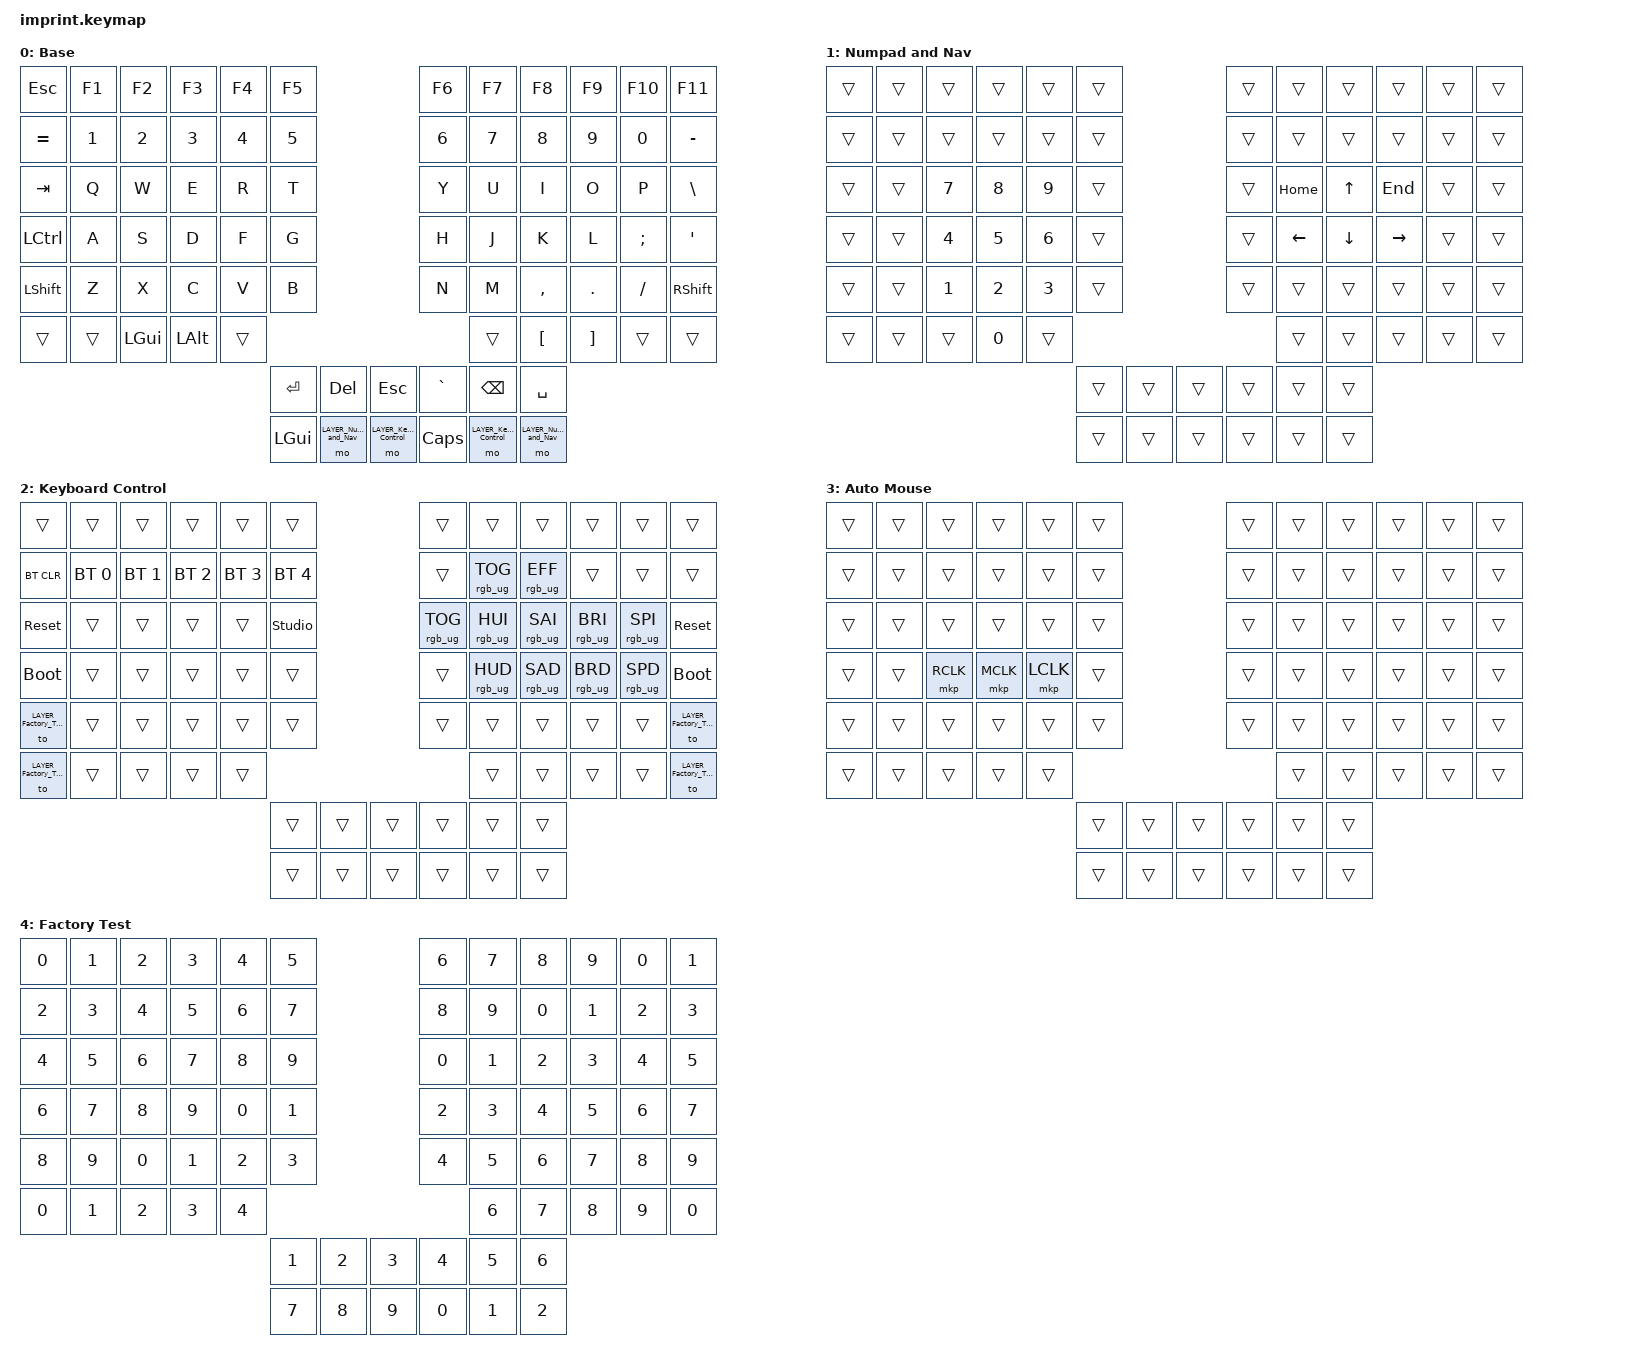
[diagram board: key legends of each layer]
/* Generated by Keyboard Curator. Change the board or the layout there, not this file. */

#include <behaviors.dtsi>
#include <dt-bindings/zmk/keys.h>
#include <dt-bindings/zmk/bt.h>
#include <dt-bindings/zmk/outputs.h>
#include <dt-bindings/zmk/rgb.h>
#include <dt-bindings/zmk/ext_power.h>
#include <dt-bindings/zmk/pointing.h>
#include <input/processors.dtsi>
#include <dt-bindings/zmk/input_transform.h>

#define LAYER_Base 0
#define LAYER_Numpad_and_Nav 1
#define LAYER_Keyboard_Control 2
#define LAYER_Auto_Mouse 3
#define LAYER_Factory_Test 4

/ {
    chosen {
        zmk,physical-layout = &physical_layout_imprint_function_row_full_bottom_row;
    };

    underglow-layer {
        compatible = "zmk,underglow-layer";

        lighting_0_Base {
            layer-id = <LAYER_Base>;
            bindings = <
                &ug 0xFF0000  &ug 0xFF0000  &ug 0xFF0000  &ug 0xFF0000  &ug 0xFF0000  &ug 0xFF0000                                                          &ug 0xFF0000  &ug 0xFF0000  &ug 0xFF0000  &ug 0xFF0000  &ug 0xFF0000  &ug 0xFF0000
                &ug 0xFFA000  &ug 0xFFA000  &ug 0xFFA000  &ug 0xFFA000  &ug 0xFFA000  &ug 0xFFA000                                                          &ug 0xFFA000  &ug 0xFFA000  &ug 0xFFA000  &ug 0xFFA000  &ug 0xFFA000  &ug 0xFFA000
                &ug 0x00FF00  &ug 0x00FF00  &ug 0x00FF00  &ug 0x00FF00  &ug 0x00FF00  &ug 0x00FF00                                                          &ug 0x00FF00  &ug 0x00FF00  &ug 0x00FF00  &ug 0x00FF00  &ug 0x00FF00  &ug 0x00FF00
                &ug 0x00FFFF  &ug 0x00FFFF  &ug 0x00FFFF  &ug 0x00FFFF  &ug 0x00FFFF  &ug 0x00FFFF                                                          &ug 0x00FFFF  &ug 0x00FFFF  &ug 0x00FFFF  &ug 0x00FFFF  &ug 0x00FFFF  &ug 0x00FFFF
                &ug 0x0000FF  &ug 0x0000FF  &ug 0x0000FF  &ug 0x0000FF  &ug 0x0000FF  &ug 0x0000FF                                                          &ug 0x0000FF  &ug 0x0000FF  &ug 0x0000FF  &ug 0x0000FF  &ug 0x0000FF  &ug 0x0000FF
                &ug 0xFF00FF  &ug 0xFF00FF  &ug 0xFF00FF  &ug 0xFF00FF  &ug 0xFF00FF                                                                                      &ug 0xFF00FF  &ug 0xFF00FF  &ug 0xFF00FF  &ug 0xFF00FF  &ug 0xFF00FF
                                                                                                    &ug 0xFF0000  &ug 0xFF0000  &ug 0xFF0000  &ug 0xFF0000  &ug 0xFF0000  &ug 0xFF0000
                                                                                                    &ug 0xFFA000  &ug 0xFFA000  &ug 0xFFA000  &ug 0xFFA000  &ug 0xFFA000  &ug 0xFFA000
            >;
        };

        lighting_1_Numpad_and_Nav {
            layer-id = <LAYER_Numpad_and_Nav>;
            bindings = <
                &ug 0xFF0000  &ug 0xFFA000  &ug 0x00FF00  &ug 0x00FFFF  &ug 0x0000FF  &ug 0xFF00FF                                                          &ug 0xFF0000  &ug 0xFFA000  &ug 0x00FF00  &ug 0x00FFFF  &ug 0x0000FF  &ug 0xFF00FF
                &ug 0xFF0000  &ug 0xFFA000  &ug 0x00FF00  &ug 0x00FFFF  &ug 0x0000FF  &ug 0xFF00FF                                                          &ug 0xFF0000  &ug 0xFFA000  &ug 0x00FF00  &ug 0x00FFFF  &ug 0x0000FF  &ug 0xFF00FF
                &ug 0xFF0000  &ug 0xFFA000  &ug 0x00FF00  &ug 0x00FFFF  &ug 0x0000FF  &ug 0xFF00FF                                                          &ug 0xFF0000  &ug 0xFFA000  &ug 0x00FF00  &ug 0x00FFFF  &ug 0x0000FF  &ug 0xFF00FF
                &ug 0xFF0000  &ug 0xFFA000  &ug 0x00FF00  &ug 0x00FFFF  &ug 0x0000FF  &ug 0xFF00FF                                                          &ug 0xFF0000  &ug 0xFFA000  &ug 0x00FF00  &ug 0x00FFFF  &ug 0x0000FF  &ug 0xFF00FF
                &ug 0xFF0000  &ug 0xFFA000  &ug 0x00FF00  &ug 0x00FFFF  &ug 0x0000FF  &ug 0xFF00FF                                                          &ug 0xFF0000  &ug 0xFFA000  &ug 0x00FF00  &ug 0x00FFFF  &ug 0x0000FF  &ug 0xFF00FF
                &ug 0xFF0000  &ug 0xFFA000  &ug 0x00FF00  &ug 0x00FFFF  &ug 0x0000FF                                                                                      &ug 0xFFA000  &ug 0x00FF00  &ug 0x00FFFF  &ug 0x0000FF  &ug 0xFF00FF
                                                                                                    &ug 0xFF0000  &ug 0xFF0000  &ug 0xFFA000  &ug 0x00FFFF  &ug 0x0000FF  &ug 0xFF00FF
                                                                                                    &ug 0xFF0000  &ug 0xFF0000  &ug 0xFFA000  &ug 0x00FFFF  &ug 0x0000FF  &ug 0xFF00FF
            >;
        };
    };

    keymap {
        compatible = "zmk,keymap";

        layer_0_Base {
            display-name = "Base";
            bindings = <
                &kp ESC    &kp F1  &kp F2    &kp F3    &kp F4  &kp F5                                                                             &kp F6                      &kp F7                    &kp F8     &kp F9    &kp F10   &kp F11
                &kp EQUAL  &kp N1  &kp N2    &kp N3    &kp N4  &kp N5                                                                             &kp N6                      &kp N7                    &kp N8     &kp N9    &kp N0    &kp MINUS
                &kp TAB    &kp Q   &kp W     &kp E     &kp R   &kp T                                                                              &kp Y                       &kp U                     &kp I      &kp O     &kp P     &kp BSLH
                &kp LCTRL  &kp A   &kp S     &kp D     &kp F   &kp G                                                                              &kp H                       &kp J                     &kp K      &kp L     &kp SEMI  &kp SQT
                &kp LSHFT  &kp Z   &kp X     &kp C     &kp V   &kp B                                                                              &kp N                       &kp M                     &kp COMMA  &kp DOT   &kp FSLH  &kp RSHFT
                &trans     &trans  &kp LGUI  &kp LALT  &trans                                                                                                                 &trans                    &kp LBKT   &kp RBKT  &trans    &trans
                                                                       &kp RET   &kp DEL                   &kp ESC                     &kp GRAVE  &kp BSPC                    &kp SPACE
                                                                       &kp LGUI  &mo LAYER_Numpad_and_Nav  &mo LAYER_Keyboard_Control  &kp CAPS   &mo LAYER_Keyboard_Control  &mo LAYER_Numpad_and_Nav
            >;
        };

        layer_1_Numpad_and_Nav {
            display-name = "Numpad and Nav";
            bindings = <
                &trans  &trans  &trans  &trans  &trans  &trans                                  &trans  &trans    &trans    &trans     &trans  &trans
                &trans  &trans  &trans  &trans  &trans  &trans                                  &trans  &trans    &trans    &trans     &trans  &trans
                &trans  &trans  &kp N7  &kp N8  &kp N9  &trans                                  &trans  &kp HOME  &kp UP    &kp END    &trans  &trans
                &trans  &trans  &kp N4  &kp N5  &kp N6  &trans                                  &trans  &kp LEFT  &kp DOWN  &kp RIGHT  &trans  &trans
                &trans  &trans  &kp N1  &kp N2  &kp N3  &trans                                  &trans  &trans    &trans    &trans     &trans  &trans
                &trans  &trans  &trans  &kp N0  &trans                                                  &trans    &trans    &trans     &trans  &trans
                                                                &trans  &trans  &trans  &trans  &trans  &trans
                                                                &trans  &trans  &trans  &trans  &trans  &trans
            >;
        };

        layer_2_Keyboard_Control {
            display-name = "Keyboard Control";
            bindings = <
                &trans                  &trans        &trans        &trans        &trans        &trans                                          &trans           &trans           &trans           &trans           &trans           &trans
                &bt BT_CLR              &bt BT_SEL 0  &bt BT_SEL 1  &bt BT_SEL 2  &bt BT_SEL 3  &bt BT_SEL 4                                    &trans           &rgb_ug RGB_TOG  &rgb_ug RGB_EFF  &trans           &trans           &trans
                &sys_reset              &trans        &trans        &trans        &trans        &studio_unlock                                  &rgb_ug RGB_TOG  &rgb_ug RGB_HUI  &rgb_ug RGB_SAI  &rgb_ug RGB_BRI  &rgb_ug RGB_SPI  &sys_reset
                &bootloader             &trans        &trans        &trans        &trans        &trans                                          &trans           &rgb_ug RGB_HUD  &rgb_ug RGB_SAD  &rgb_ug RGB_BRD  &rgb_ug RGB_SPD  &bootloader
                &to LAYER_Factory_Test  &trans        &trans        &trans        &trans        &trans                                          &trans           &trans           &trans           &trans           &trans           &to LAYER_Factory_Test
                &to LAYER_Factory_Test  &trans        &trans        &trans        &trans                                                                         &trans           &trans           &trans           &trans           &to LAYER_Factory_Test
                                                                                                                &trans  &trans  &trans  &trans  &trans           &trans
                                                                                                                &trans  &trans  &trans  &trans  &trans           &trans
            >;
        };

        layer_3_Auto_Mouse {
            display-name = "Auto Mouse";
            bindings = <
                &trans  &trans  &trans     &trans     &trans     &trans                                  &trans  &trans  &trans  &trans  &trans  &trans
                &trans  &trans  &trans     &trans     &trans     &trans                                  &trans  &trans  &trans  &trans  &trans  &trans
                &trans  &trans  &trans     &trans     &trans     &trans                                  &trans  &trans  &trans  &trans  &trans  &trans
                &trans  &trans  &mkp RCLK  &mkp MCLK  &mkp LCLK  &trans                                  &trans  &trans  &trans  &trans  &trans  &trans
                &trans  &trans  &trans     &trans     &trans     &trans                                  &trans  &trans  &trans  &trans  &trans  &trans
                &trans  &trans  &trans     &trans     &trans                                                     &trans  &trans  &trans  &trans  &trans
                                                                         &trans  &trans  &trans  &trans  &trans  &trans
                                                                         &trans  &trans  &trans  &trans  &trans  &trans
            >;
        };

        layer_4_Factory_Test {
            display-name = "Factory Test";
            bindings = <
                &kp N0  &kp N1  &kp N2  &kp N3  &kp N4  &kp N5                                  &kp N6  &kp N7  &kp N8  &kp N9  &kp N0  &kp N1
                &kp N2  &kp N3  &kp N4  &kp N5  &kp N6  &kp N7                                  &kp N8  &kp N9  &kp N0  &kp N1  &kp N2  &kp N3
                &kp N4  &kp N5  &kp N6  &kp N7  &kp N8  &kp N9                                  &kp N0  &kp N1  &kp N2  &kp N3  &kp N4  &kp N5
                &kp N6  &kp N7  &kp N8  &kp N9  &kp N0  &kp N1                                  &kp N2  &kp N3  &kp N4  &kp N5  &kp N6  &kp N7
                &kp N8  &kp N9  &kp N0  &kp N1  &kp N2  &kp N3                                  &kp N4  &kp N5  &kp N6  &kp N7  &kp N8  &kp N9
                &kp N0  &kp N1  &kp N2  &kp N3  &kp N4                                                  &kp N6  &kp N7  &kp N8  &kp N9  &kp N0
                                                                &kp N1  &kp N2  &kp N3  &kp N4  &kp N5  &kp N6
                                                                &kp N7  &kp N8  &kp N9  &kp N0  &kp N1  &kp N2
            >;
        };

        reserved_0 {
            status = "reserved";
        };

        reserved_1 {
            status = "reserved";
        };

        reserved_2 {
            status = "reserved";
        };

        reserved_3 {
            status = "reserved";
        };

        reserved_4 {
            status = "reserved";
        };

        reserved_5 {
            status = "reserved";
        };

        reserved_6 {
            status = "reserved";
        };

        reserved_7 {
            status = "reserved";
        };

        reserved_8 {
            status = "reserved";
        };

        reserved_9 {
            status = "reserved";
        };

        reserved_10 {
            status = "reserved";
        };

        reserved_11 {
            status = "reserved";
        };

        reserved_12 {
            status = "reserved";
        };

        reserved_13 {
            status = "reserved";
        };

        reserved_14 {
            status = "reserved";
        };

        reserved_15 {
            status = "reserved";
        };

        reserved_16 {
            status = "reserved";
        };

        reserved_17 {
            status = "reserved";
        };

        reserved_18 {
            status = "reserved";
        };

        reserved_19 {
            status = "reserved";
        };

        reserved_20 {
            status = "reserved";
        };

        reserved_21 {
            status = "reserved";
        };

        reserved_22 {
            status = "reserved";
        };

        reserved_23 {
            status = "reserved";
        };

        reserved_24 {
            status = "reserved";
        };

        reserved_25 {
            status = "reserved";
        };

        reserved_26 {
            status = "reserved";
        };
    };
};

&trackball_central_listener {
    input-processors = <&zip_xy_scaler 1 3>, <&zip_xy_to_scroll_mapper>, <&zip_scroll_transform (INPUT_TRANSFORM_Y_INVERT)>;
};
